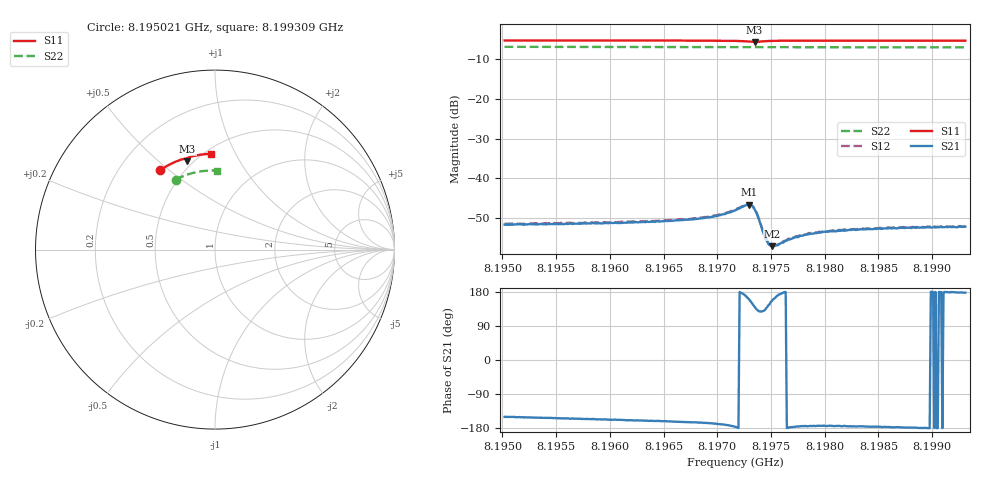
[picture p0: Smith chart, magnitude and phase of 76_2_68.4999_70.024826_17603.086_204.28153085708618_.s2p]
#  HZ  S  RI  R  50.00
! Rohde & Schwarz Vector Network Analyzer
! Rohde-Schwarz,ZNB20-2Port,1311601062101988,3.16
! Created: UTC 3/20/2024, 4:51:57 PM
! freq[Hz]  re:S11  im:S11  re:S21  im:S21  re:S12  im:S12  re:S22  im:S22
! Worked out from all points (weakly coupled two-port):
!   401 points, 8.195021 GHz to 8.199309 GHz, reference 50 ohm
!   highest |S21| = -46.63 dB at 8.197294 GHz (marker M1); lowest = -57.0 dB at 8.197508 GHz (marker M2)
!   lowest |S11| = -5.7 dB at 8.197347 GHz (marker M3), VSWR 3.13, Z = 23.3 + j31.2 ohm
!   |S11| at or under -10 dB: nowhere
!   |S22| runs from -7.1 to -7.0 dB; largest |S21 - S12| = 0.00023
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8.1950211e9  -0.3067 0.4421  -0.00228 -0.00131  -0.00235 -0.00125  -0.2194 0.39
8.1957394e9  -0.2632 0.4686  -0.00248 -0.00112  -0.00254 -0.00107  -0.183 0.407
8.1964577e9  -0.2167 0.491  -0.00271 -0.000952  -0.00282 -0.000846  -0.1452 0.4208
8.1967578e9  -0.196 0.499  -0.00296 -0.000825  -0.00304 -0.000736  -0.1292 0.4254
8.1969401e9  -0.1826 0.5032  -0.00319 -0.00073  -0.0033 -0.000645  -0.1191 0.428
8.1970687e9  -0.1721 0.5056  -0.00351 -0.000578  -0.00361 -0.000462  -0.1121 0.4298
8.1971652e9  -0.1629 0.5061  -0.00397 -0.000265  -0.00405 -0.000116  -0.1067 0.4308
8.197251e9  -0.154 0.5028  -0.00448 0.000587  -0.00449 0.000809  -0.1021 0.4317
8.1972939e9  -0.1511 0.4979  -0.0044 0.00155  -0.00443 0.00172  -0.0998 0.432
8.197326e9  -0.1523 0.4937  -0.00381 0.00234  -0.00378 0.00255  -0.098 0.4323
8.1973475e9  -0.155 0.4923  -0.00316 0.00261  -0.0031 0.00277  -0.0969 0.4325
8.1973796e9  -0.1593 0.4935  -0.00213 0.0025  -0.00207 0.0026  -0.0953 0.4329
8.1974332e9  -0.1611 0.5004  -0.0013 0.00155  -0.00126 0.00162  -0.0925 0.4337
8.1974547e9  -0.1601 0.503  -0.00123 0.00118  -0.00122 0.00126  -0.0913 0.4339
8.1974761e9  -0.1588 0.5051  -0.00122 0.000873  -0.00121 0.000966  -0.0902 0.4341
8.1975083e9  -0.1562 0.5078  -0.00129 0.000567  -0.00131 0.000632  -0.0883 0.4343
8.1975404e9  -0.1536 0.5099  -0.00137 0.000384  -0.0014 0.000427  -0.0864 0.4349
8.1977227e9  -0.1387 0.5164  -0.00184 -0.000117  -0.00182 -7.41e-05  -0.0762 0.4364
8.1978835e9  -0.1266 0.52  -0.00201 -0.0002  -0.00206 -0.000118  -0.0674 0.4376
8.1981944e9  -0.104 0.525  -0.00221 -0.00022  -0.00226 -0.000132  -0.0497 0.4394
8.1986018e9  -0.0748 0.5296  -0.00239 -0.000137  -0.0024 -2.56e-05  -0.027 0.4407
8.1993093e9  -0.0245 0.5336  -0.00248 0.000101  -0.00252 0.000187  0.0131 0.4399
